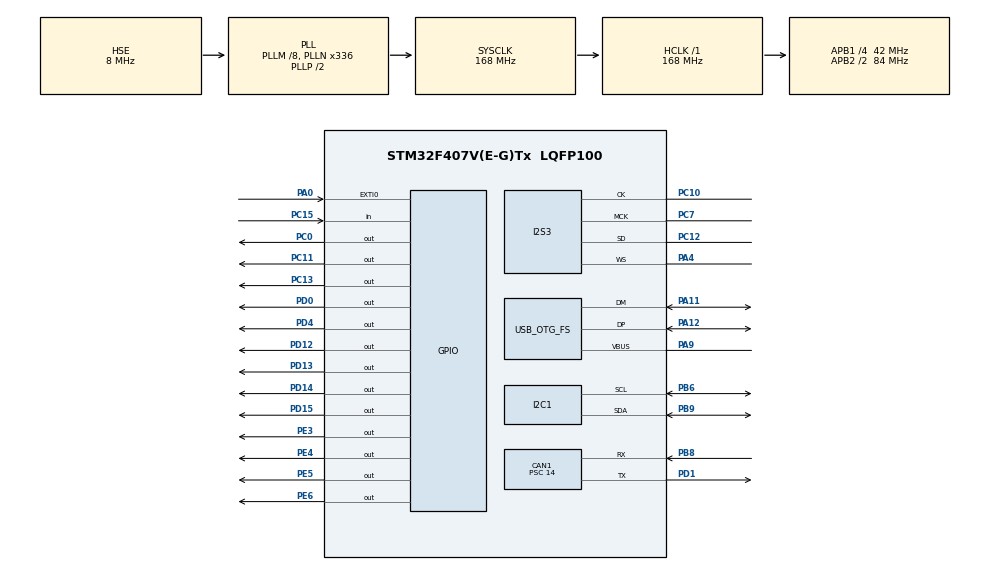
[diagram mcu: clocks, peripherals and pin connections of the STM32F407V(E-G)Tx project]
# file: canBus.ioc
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CAN1.ABOM=DISABLE
CAN1.BS1=CAN_BS1_12TQ
CAN1.BS2=CAN_BS2_2TQ
CAN1.CalculateBaudRate=200000
CAN1.CalculateTimeBit=4999.99
CAN1.CalculateTimeQuantum=333.33333333333337
CAN1.Prescaler=14
Dma.Request0=SPI3_TX
Dma.SPI3_TX.0.Direction=DMA_MEMORY_TO_PERIPH
Dma.SPI3_TX.0.FIFOMode=DMA_FIFOMODE_ENABLE
Dma.SPI3_TX.0.FIFOThreshold=DMA_FIFO_THRESHOLD_FULL
Dma.SPI3_TX.0.Instance=DMA1_Stream5
Dma.SPI3_TX.0.MemBurst=DMA_MBURST_SINGLE
Dma.SPI3_TX.0.MemDataAlignment=DMA_MDATAALIGN_HALFWORD
Dma.SPI3_TX.0.MemInc=DMA_MINC_ENABLE
Dma.SPI3_TX.0.Mode=DMA_CIRCULAR
Dma.SPI3_TX.0.PeriphBurst=DMA_PBURST_SINGLE
Dma.SPI3_TX.0.PeriphDataAlignment=DMA_PDATAALIGN_HALFWORD
Dma.SPI3_TX.0.PeriphInc=DMA_PINC_DISABLE
Dma.SPI3_TX.0.Priority=DMA_PRIORITY_LOW
I2S3.AudioFreq=I2S_AUDIOFREQ_44K
I2S3.ErrorAudioFreq=0.24 %
I2S3.FullDuplexMode=I2S_FULLDUPLEXMODE_DISABLE
I2S3.Instance=SPI$Index
I2S3.RealAudioFreq=44.108 KHz
I2S3.VirtualMode=I2S_MODE_MASTER
Mcu.Family=STM32F4
Mcu.Name=STM32F407V(E-G)Tx
Mcu.Package=LQFP100
NVIC.CAN1_RX0_IRQn=true\:0\:2\:false\:false\:true\:true\:true
NVIC.DMA1_Stream5_IRQn=true\:0\:0\:false\:false\:true\:false\:true
NVIC.EXTI0_IRQn=true\:0\:1\:false\:false\:true\:true\:true
NVIC.OTG_FS_IRQn=true\:0\:0\:false\:false\:true\:false\:true
NVIC.PriorityGroup=NVIC_PRIORITYGROUP_0
NVIC.TIM1_UP_TIM10_IRQn=true\:0\:0\:false\:false\:true\:false\:true
NVIC.TimeBase=TIM1_UP_TIM10_IRQn
NVIC.TimeBaseIP=TIM1
PA0-WKUP.Signal=GPXTI0
PA11.Mode=Host_Only
PA11.Signal=USB_OTG_FS_DM
PA12.Mode=Host_Only
PA12.Signal=USB_OTG_FS_DP
PA4.Mode=Half_Duplex_Master
PA4.Signal=I2S3_WS
PA9.Mode=Activate_VBUS
PA9.Signal=USB_OTG_FS_VBUS
PB6.Mode=I2C
PB6.Signal=I2C1_SCL
PB8.Mode=CAN_Activate
PB8.Signal=CAN1_RX
PB9.Mode=I2C
PB9.Signal=I2C1_SDA
PC0.Signal=GPIO_Output
PC10.Mode=Half_Duplex_Master
PC10.Signal=I2S3_CK
PC11.Signal=GPIO_Output
PC12.Mode=Half_Duplex_Master
PC12.Signal=I2S3_SD
PC13-ANTI_TAMP.Signal=GPIO_Output
PC15-OSC32_OUT.Signal=GPIO_Input
PC7.Mode=Master_Clock_Activated
PC7.Signal=I2S3_MCK
PD0.Signal=GPIO_Output
PD1.Mode=CAN_Activate
PD1.Signal=CAN1_TX
PD12.Signal=GPIO_Output
PD13.Signal=GPIO_Output
PD14.Signal=GPIO_Output
PD15.Signal=GPIO_Output
PD4.Signal=GPIO_Output
PE3.Signal=GPIO_Output
PE4.Signal=GPIO_Output
PE5.Signal=GPIO_Output
PE6.Signal=GPIO_Output
PH0-OSC_IN.Mode=HSE-External-Oscillator
PH0-OSC_IN.Signal=RCC_OSC_IN
PH1-OSC_OUT.Mode=HSE-External-Oscillator
PH1-OSC_OUT.Signal=RCC_OSC_OUT
ProjectManager.HeapSize=0x2000
ProjectManager.StackSize=0x2000
ProjectManager.TargetToolchain=STM32CubeIDE
RCC.48MHZClocksFreq_Value=48000000
RCC.AHBFreq_Value=168000000
RCC.APB1CLKDivider=RCC_HCLK_DIV4
RCC.APB1Freq_Value=42000000
RCC.APB1TimFreq_Value=84000000
RCC.APB2CLKDivider=RCC_HCLK_DIV2
RCC.APB2Freq_Value=84000000
RCC.APB2TimFreq_Value=168000000
RCC.CortexFreq_Value=168000000
RCC.HCLKFreq_Value=168000000
RCC.HSE_VALUE=8000000
RCC.HSI_VALUE=16000000
RCC.LSE_VALUE=32768
RCC.PLLI2SN=271
RCC.PLLI2SR=6
RCC.PLLM=8
RCC.PLLN=336
RCC.PLLQ=7
RCC.SYSCLKFreq_VALUE=168000000
RCC.SYSCLKSource=RCC_SYSCLKSOURCE_PLLCLK
RCC.VCOOutputFreq_Value=336000000
TIM2.ClockDivision=TIM_CLOCKDIVISION_DIV4
USB_HOST.USBH_HandleTypeDef-MSC_FS=hUsbHostFS
USB_HOST.VirtualModeFS=Msc
USB_OTG_FS.VirtualMode=Host_Only
USB_OTG_FS.phy_itface=HCD_PHY_EMBEDDED
VP_FATFS_VS_USB.Mode=USB
VP_SYS_VS_tim1.Mode=TIM1
VP_TIM2_VS_ClockSourceINT.Mode=Internal
VP_TIM4_VS_ClockSourceINT.Mode=Internal
VP_USB_HOST_VS_USB_HOST_MSC_FS.Mode=MSC_FS
board=STM32F407G-DISC1

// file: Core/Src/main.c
/* USER CODE BEGIN Header */
/**
  ******************************************************************************
  * @file           : main.c
  * @brief          : Main program body
  ******************************************************************************
  * @attention
  *
  * <h2><center>&copy; Copyright (c) 2021 STMicroelectronics.
  * All rights reserved.</center></h2>
  *
  * This software component is licensed by ST under BSD 3-Clause license,
  * the "License"; You may not use this file except in compliance with the
  * License. You may obtain a copy of the License at:
  *                        opensource.org/licenses/BSD-3-Clause
  *
  ******************************************************************************
  */
/* USER CODE END Header */
#include "main.h"
#include "fatfs.h"
#include "usb_host.h"

/* USER CODE BEGIN Includes */
#include "audioI2S.h"
#include "MY_CS43L22.h"
#include "wav_player.h"
/* USER CODE END Includes */

/* USER CODE BEGIN PTD */
extern ApplicationTypeDef Appli_state;
/* USER CODE END PTD */

CAN_HandleTypeDef hcan1;
I2C_HandleTypeDef hi2c1;
I2S_HandleTypeDef hi2s3;
DMA_HandleTypeDef hdma_spi3_tx;
TIM_HandleTypeDef htim2;
TIM_HandleTypeDef htim4;

/* USER CODE BEGIN PV */
#define WAV_FILE1 "first.wav"
#define WAV_FILE2 "second.wav"
#define WAV_FILE3 "third.wav"
#define WAV_FILE4 "fourth.wav"
#define WAV_FILE5 "fifth.wav"
#define WAV_FILE10 "start.wav"
#define WAV_FILE11 "goed.wav"
#define WAV_FILE12 "fout.wav"
CAN_TxHeaderTypeDef TxHeader;
CAN_RxHeaderTypeDef RxHeader;
CAN_FilterTypeDef FilterConfig;

uint32_t TxMailbox;
uint8_t TxData[8] = {0,0,0,0,0,0,0,0};
uint8_t RxData[8] = {0,0,0,0,0,0,0,0};
uint8_t start = 0;
uint32_t tellerFijn = 0;
uint32_t tellerGrof = 0;
uint32_t reactieSnelheid = 0;
uint32_t score = 25000;                     //Hoe lager hoe beter (reactiesnelheid), 25000 is meer dan de afspeeltijd van het langste audio file

/* USER CODE END PV */

void SystemClock_Config(void);
static void MX_GPIO_Init(void);
static void MX_CAN1_Init(void);
static void MX_DMA_Init(void);
static void MX_I2C1_Init(void);
static void MX_I2S3_Init(void);
static void MX_TIM4_Init(void);
static void MX_TIM2_Init(void);
void MX_USB_HOST_Process(void);

int main(void)
{
  /* USER CODE BEGIN 1 */

	// Deelnemer = 2 (maximaal drie deelnemers)
	// CAN bus deelnemer = 0x244

  /* USER CODE END 1 */

  /* MCU Configuration--------------------------------------------------------*/

  /* Reset of all peripherals, Initializes the Flash interface and the Systick. */
  HAL_Init();

  /* Configure the system clock */
  SystemClock_Config();

  /* Initialize all configured peripherals */
  MX_GPIO_Init();
  MX_CAN1_Init();
  MX_DMA_Init();
  MX_I2C1_Init();
  MX_I2S3_Init();
  MX_FATFS_Init();
  MX_USB_HOST_Init();
  MX_TIM4_Init();
  MX_TIM2_Init();
  /* USER CODE BEGIN 2 */
  FilterConfig.FilterBank = 0;  //MASTER
  FilterConfig.FilterMode = CAN_FILTERMODE_IDMASK;
  FilterConfig.FilterFIFOAssignment = CAN_FILTER_FIFO0;
  FilterConfig.FilterIdHigh = 0x245<<5;
  FilterConfig.FilterIdLow = 0;
  FilterConfig.FilterMaskIdHigh = 0;
  FilterConfig.FilterMaskIdLow = 0;
  FilterConfig.FilterScale=CAN_FILTERSCALE_32BIT;
  FilterConfig.FilterActivation= ENABLE;
  FilterConfig.SlaveStartFilterBank = 14;

  TxHeader.DLC = 8;            								// grote van bericht 1 - 8 in bytes
  TxHeader.IDE = CAN_ID_STD;   								// standaard berichten versturen geen debug mode
  TxHeader.RTR = CAN_RTR_DATA;
  TxHeader.StdId = 0x243;        							// identificatie nummer van de CAN deelnemer
  TxHeader.TransmitGlobalTime = DISABLE;

  HAL_CAN_ConfigFilter(&hcan1,&FilterConfig);
  HAL_CAN_Start(&hcan1);
  HAL_CAN_ActivateNotification(&hcan1,CAN_IT_RX_FIFO0_MSG_PENDING);

  CS43_Init(hi2c1, MODE_I2S);
  CS43_SetVolume(180);										//volume 0-255
  CS43_Enable_RightLeft(CS43_RIGHT_LEFT);
  audioI2S_setHandle(&hi2s3);
  bool isSdCardMounted=0;

  /* USER CODE END 2 */

  /* Infinite loop */
  while (1)
  {
    MX_USB_HOST_Process();

    /* USER CODE BEGIN 3 */

    if(start == 1)
    {
    	if(Appli_state == APPLICATION_START)
    	        {
    	          //HAL_GPIO_WritePin(GPIOD, GPIO_PIN_12, GPIO_PIN_SET);					// groene led aan (applicatie gestart)
    	        }
    	        else if(Appli_state == APPLICATION_DISCONNECT)
    	        {
    	          f_mount(NULL, (TCHAR const*)"", 0);
    	          isSdCardMounted = 0;
    	        }
    	    if(Appli_state == APPLICATION_READY)
    	        {
    	          if(!isSdCardMounted)
    	          {
    	            f_mount(&USBHFatFS, (const TCHAR*)USBHPath, 0);						//mount SD-card
    	            isSdCardMounted = 1;
    	          }

    	          // Speel START geluid
    	          HAL_GPIO_WritePin(GPIOD, GPIO_PIN_12, GPIO_PIN_SET);					// groene led aan (applicatie gestart)
    	          HAL_GPIO_WritePin(GPIOD, GPIO_PIN_13, GPIO_PIN_RESET);
    	          HAL_Delay(100);

    	          wavPlayer_fileSelect(WAV_FILE10);
    	          HAL_Delay(100);
    	          wavPlayer_play();
    	          while(!wavPlayer_isFinished())
    	          {
    	        	  wavPlayer_process();
    	          }
    	          wavPlayer_stop();
    	          HAL_Delay((rand() % 50)*100);					// RANDOM wachttijd
    	          tellerFijn = 0;                          		//teller fijn 0 - 1000 telt tijdens proces afspelen audiodata, teller start bij afspelen
    	          tellerGrof = 0;								//teller grof x * 1000
    	          reactieSnelheid = 0;							//Reactiesnelheid, tellerstand na start afspelen

    	          // Speel audiofile 1, 2, 3, 4 of 5 op verzoek van andere print (RxData bericht van ander bordje)
    	          if(RxData[1]==1)
    	           	   {
    	        	  	  wavPlayer_fileSelect(WAV_FILE1);
    	           	   }
    	          if(RxData[1]==2)
    	           	   {
    	        	  	  wavPlayer_fileSelect(WAV_FILE2);
    	           	   }
    	          if(RxData[1]==3)
    	           	   {
    	              	   wavPlayer_fileSelect(WAV_FILE3);
    	           	   }
    	          if(RxData[1]==4)
    	              {
    	              	  wavPlayer_fileSelect(WAV_FILE4);
    	              }
    	          if(RxData[1]==5)
    	              {
    	              	  wavPlayer_fileSelect(WAV_FILE5);
    	              }
    	          if(RxData[1]==0)
    	              {
    	              	  wavPlayer_fileSelect(WAV_FILE5);
    	              }
    	          wavPlayer_play();
    	          while(!wavPlayer_isFinished())						//afspelen audiofile in loop + start teller
    	            {

    	              if (HAL_GPIO_ReadPin(GPIOC, GPIO_PIN_15))			//drukknop geactiveerd => reactieTijd vastleggen
    	              {
    	            	  reactieSnelheid=tellerGrof;
    	            	  HAL_GPIO_WritePin(GPIOD, GPIO_PIN_14, GPIO_PIN_SET);
    	              }
    	              tellerFijn++;
    	              if(tellerFijn>1000){
    	            	  tellerGrof++;
    	            	  tellerFijn=0;
    	              }
    	              wavPlayer_process();								// speel audio data
    	            }
    	          wavPlayer_stop();
    	          }
    	        	if(reactieSnelheid<score){							//speel muziekje "goed" als de score verbeterd is
    	        		wavPlayer_fileSelect(WAV_FILE11);
    	        		wavPlayer_play();
    	        		while(!wavPlayer_isFinished()){wavPlayer_process();}
    	        		wavPlayer_stop();
    	        		score = reactieSnelheid;
    	        	}else{												//speel muziekje "fout" als de score niet verbeterd is
    	        		wavPlayer_fileSelect(WAV_FILE12);
    	        		wavPlayer_play();
    	        		while(!wavPlayer_isFinished()){wavPlayer_process();}
    	        		wavPlayer_stop();
    	        	}
    	        	HAL_GPIO_WritePin(GPIOD, GPIO_PIN_12, GPIO_PIN_RESET);		//zet groene led uit
    	        	HAL_GPIO_WritePin(GPIOD, GPIO_PIN_14, GPIO_PIN_RESET);
    	        	start = 0;													//reset start applicatie flag
    	        }
  }

}
  /* USER CODE END 3 */

void SystemClock_Config(void)
{
  RCC_OscInitTypeDef RCC_OscInitStruct = {0};
  RCC_ClkInitTypeDef RCC_ClkInitStruct = {0};

  /** Configure the main internal regulator output voltage
  */
  __HAL_RCC_PWR_CLK_ENABLE();
  __HAL_PWR_VOLTAGESCALING_CONFIG(PWR_REGULATOR_VOLTAGE_SCALE1);
  /** Initializes the RCC Oscillators according to the specified parameters
  * in the RCC_OscInitTypeDef structure.
  */
  RCC_OscInitStruct.OscillatorType = RCC_OSCILLATORTYPE_HSE;
  RCC_OscInitStruct.HSEState = RCC_HSE_ON;
  RCC_OscInitStruct.PLL.PLLState = RCC_PLL_ON;
  RCC_OscInitStruct.PLL.PLLSource = RCC_PLLSOURCE_HSE;
  RCC_OscInitStruct.PLL.PLLM = 8;
  RCC_OscInitStruct.PLL.PLLN = 336;
  RCC_OscInitStruct.PLL.PLLP = RCC_PLLP_DIV2;
  RCC_OscInitStruct.PLL.PLLQ = 7;
  if (HAL_RCC_OscConfig(&RCC_OscInitStruct) != HAL_OK)
  {
    Error_Handler();
  }
  /** Initializes the CPU, AHB and APB buses clocks
  */
  RCC_ClkInitStruct.ClockType = RCC_CLOCKTYPE_HCLK|RCC_CLOCKTYPE_SYSCLK
                              |RCC_CLOCKTYPE_PCLK1|RCC_CLOCKTYPE_PCLK2;
  RCC_ClkInitStruct.SYSCLKSource = RCC_SYSCLKSOURCE_PLLCLK;
  RCC_ClkInitStruct.AHBCLKDivider = RCC_SYSCLK_DIV1;
  RCC_ClkInitStruct.APB1CLKDivider = RCC_HCLK_DIV4;
  RCC_ClkInitStruct.APB2CLKDivider = RCC_HCLK_DIV2;

  if (HAL_RCC_ClockConfig(&RCC_ClkInitStruct, FLASH_LATENCY_5) != HAL_OK)
  {
    Error_Handler();
  }
}

static void MX_CAN1_Init(void)
{

  hcan1.Instance = CAN1;
  hcan1.Init.Prescaler = 14;
  hcan1.Init.Mode = CAN_MODE_NORMAL;
  hcan1.Init.SyncJumpWidth = CAN_SJW_1TQ;
  hcan1.Init.TimeSeg1 = CAN_BS1_12TQ;
  hcan1.Init.TimeSeg2 = CAN_BS2_2TQ;
  hcan1.Init.TimeTriggeredMode = DISABLE;
  hcan1.Init.AutoBusOff = DISABLE;
  hcan1.Init.AutoWakeUp = DISABLE;
  hcan1.Init.AutoRetransmission = DISABLE;
  hcan1.Init.ReceiveFifoLocked = DISABLE;
  hcan1.Init.TransmitFifoPriority = DISABLE;
  if (HAL_CAN_Init(&hcan1) != HAL_OK)
  {
    Error_Handler();
  }

}

static void MX_I2C1_Init(void)
{

  hi2c1.Instance = I2C1;
  hi2c1.Init.ClockSpeed = 100000;
  hi2c1.Init.DutyCycle = I2C_DUTYCYCLE_2;
  hi2c1.Init.OwnAddress1 = 0;
  hi2c1.Init.AddressingMode = I2C_ADDRESSINGMODE_7BIT;
  hi2c1.Init.DualAddressMode = I2C_DUALADDRESS_DISABLE;
  hi2c1.Init.OwnAddress2 = 0;
  hi2c1.Init.GeneralCallMode = I2C_GENERALCALL_DISABLE;
  hi2c1.Init.NoStretchMode = I2C_NOSTRETCH_DISABLE;
  if (HAL_I2C_Init(&hi2c1) != HAL_OK)
  {
    Error_Handler();
  }

}

static void MX_I2S3_Init(void)
{

  hi2s3.Instance = SPI3;
  hi2s3.Init.Mode = I2S_MODE_MASTER_TX;
  hi2s3.Init.Standard = I2S_STANDARD_PHILIPS;
  hi2s3.Init.DataFormat = I2S_DATAFORMAT_16B;
  hi2s3.Init.MCLKOutput = I2S_MCLKOUTPUT_ENABLE;
  hi2s3.Init.AudioFreq = I2S_AUDIOFREQ_44K;
  hi2s3.Init.CPOL = I2S_CPOL_LOW;
  hi2s3.Init.ClockSource = I2S_CLOCK_PLL;
  hi2s3.Init.FullDuplexMode = I2S_FULLDUPLEXMODE_DISABLE;
  if (HAL_I2S_Init(&hi2s3) != HAL_OK)
  {
    Error_Handler();
  }

}

static void MX_TIM2_Init(void)
{

  TIM_ClockConfigTypeDef sClockSourceConfig = {0};
  TIM_MasterConfigTypeDef sMasterConfig = {0};

  htim2.Instance = TIM2;
  htim2.Init.Prescaler = 0;
  htim2.Init.CounterMode = TIM_COUNTERMODE_UP;
  htim2.Init.Period = 4294967295;
  htim2.Init.ClockDivision = TIM_CLOCKDIVISION_DIV4;
  htim2.Init.AutoReloadPreload = TIM_AUTORELOAD_PRELOAD_DISABLE;
  if (HAL_TIM_Base_Init(&htim2) != HAL_OK)
  {
    Error_Handler();
  }
  sClockSourceConfig.ClockSource = TIM_CLOCKSOURCE_INTERNAL;
  if (HAL_TIM_ConfigClockSource(&htim2, &sClockSourceConfig) != HAL_OK)
  {
    Error_Handler();
  }
  sMasterConfig.MasterOutputTrigger = TIM_TRGO_RESET;
  sMasterConfig.MasterSlaveMode = TIM_MASTERSLAVEMODE_DISABLE;
  if (HAL_TIMEx_MasterConfigSynchronization(&htim2, &sMasterConfig) != HAL_OK)
  {
    Error_Handler();
  }

}

static void MX_TIM4_Init(void)
{

  TIM_ClockConfigTypeDef sClockSourceConfig = {0};
  TIM_MasterConfigTypeDef sMasterConfig = {0};

  htim4.Instance = TIM4;
  htim4.Init.Prescaler = 0;
  htim4.Init.CounterMode = TIM_COUNTERMODE_UP;
  htim4.Init.Period = 65535;
  htim4.Init.ClockDivision = TIM_CLOCKDIVISION_DIV1;
  htim4.Init.AutoReloadPreload = TIM_AUTORELOAD_PRELOAD_DISABLE;
  if (HAL_TIM_Base_Init(&htim4) != HAL_OK)
  {
    Error_Handler();
  }
  sClockSourceConfig.ClockSource = TIM_CLOCKSOURCE_INTERNAL;
  if (HAL_TIM_ConfigClockSource(&htim4, &sClockSourceConfig) != HAL_OK)
  {
    Error_Handler();
  }
  sMasterConfig.MasterOutputTrigger = TIM_TRGO_RESET;
  sMasterConfig.MasterSlaveMode = TIM_MASTERSLAVEMODE_DISABLE;
  if (HAL_TIMEx_MasterConfigSynchronization(&htim4, &sMasterConfig) != HAL_OK)
  {
    Error_Handler();
  }

}

static void MX_DMA_Init(void)
{

  /* DMA controller clock enable */
  __HAL_RCC_DMA1_CLK_ENABLE();

  /* DMA interrupt init */
  /* DMA1_Stream5_IRQn interrupt configuration */
  HAL_NVIC_SetPriority(DMA1_Stream5_IRQn, 0, 0);
  HAL_NVIC_EnableIRQ(DMA1_Stream5_IRQn);

}

static void MX_GPIO_Init(void)
{
  GPIO_InitTypeDef GPIO_InitStruct = {0};

  /* GPIO Ports Clock Enable */
  __HAL_RCC_GPIOC_CLK_ENABLE();
  __HAL_RCC_GPIOH_CLK_ENABLE();
  __HAL_RCC_GPIOA_CLK_ENABLE();
  __HAL_RCC_GPIOD_CLK_ENABLE();
  __HAL_RCC_GPIOB_CLK_ENABLE();

  /*Configure GPIO pin Output Level */
  HAL_GPIO_WritePin(GPIOC, GPIO_PIN_0, GPIO_PIN_RESET);

  /*Configure GPIO pin Output Level */
  HAL_GPIO_WritePin(GPIOD, GPIO_PIN_12|GPIO_PIN_13|GPIO_PIN_14|GPIO_PIN_15
                          |GPIO_PIN_4, GPIO_PIN_RESET);

  /*Configure GPIO pin : PC15 */
  GPIO_InitStruct.Pin = GPIO_PIN_15;
  GPIO_InitStruct.Mode = GPIO_MODE_INPUT;
  GPIO_InitStruct.Pull = GPIO_NOPULL;
  HAL_GPIO_Init(GPIOC, &GPIO_InitStruct);

  /*Configure GPIO pin : PC0 */
  GPIO_InitStruct.Pin = GPIO_PIN_0;
  GPIO_InitStruct.Mode = GPIO_MODE_OUTPUT_PP;
  GPIO_InitStruct.Pull = GPIO_NOPULL;
  GPIO_InitStruct.Speed = GPIO_SPEED_FREQ_LOW;
  HAL_GPIO_Init(GPIOC, &GPIO_InitStruct);

  /*Configure GPIO pin : PA0 */
  GPIO_InitStruct.Pin = GPIO_PIN_0;
  GPIO_InitStruct.Mode = GPIO_MODE_IT_RISING;
  GPIO_InitStruct.Pull = GPIO_NOPULL;
  HAL_GPIO_Init(GPIOA, &GPIO_InitStruct);

  /*Configure GPIO pins : PD12 PD13 PD14 PD15
                           PD4 */
  GPIO_InitStruct.Pin = GPIO_PIN_12|GPIO_PIN_13|GPIO_PIN_14|GPIO_PIN_15
                          |GPIO_PIN_4;
  GPIO_InitStruct.Mode = GPIO_MODE_OUTPUT_PP;
  GPIO_InitStruct.Pull = GPIO_NOPULL;
  GPIO_InitStruct.Speed = GPIO_SPEED_FREQ_LOW;
  HAL_GPIO_Init(GPIOD, &GPIO_InitStruct);

  /* EXTI interrupt init*/
  HAL_NVIC_SetPriority(EXTI0_IRQn, 0, 1);
  HAL_NVIC_EnableIRQ(EXTI0_IRQn);

}

void HAL_TIM_PeriodElapsedCallback(TIM_HandleTypeDef *htim)
{
  if (htim->Instance == TIM1) {
    HAL_IncTick();
  }
}

void Error_Handler(void)
{
  __disable_irq();
  while (1)
  {
  }
}

/************************ (C) COPYRIGHT STMicroelectronics *****END OF FILE****/
